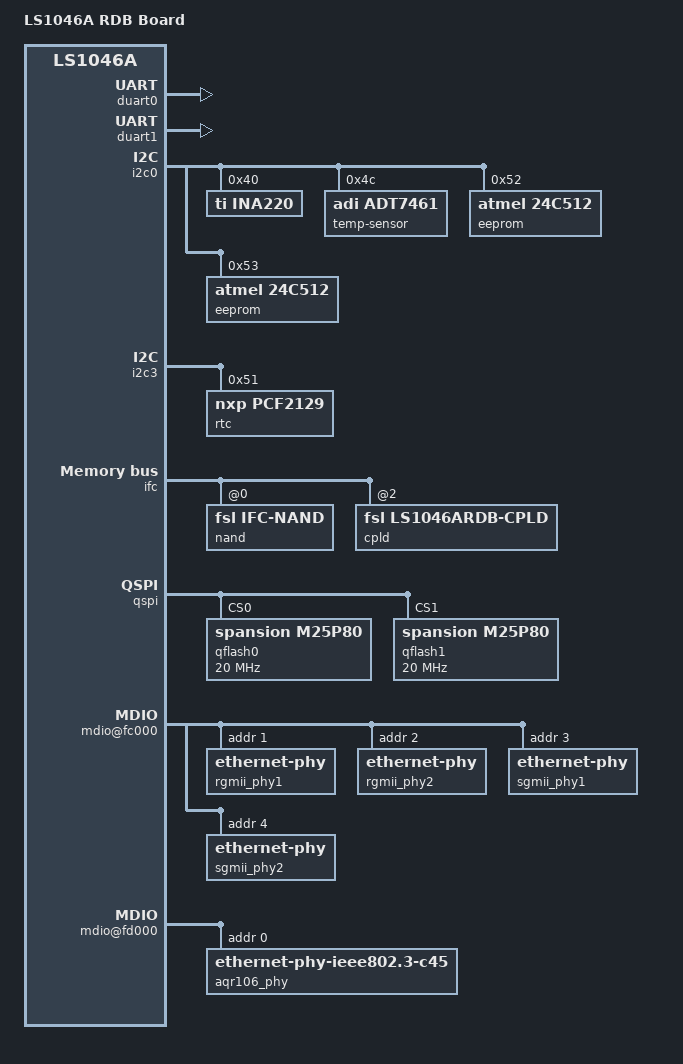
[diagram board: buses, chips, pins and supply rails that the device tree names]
// SPDX-License-Identifier: (GPL-2.0+ OR MIT)
/*
 * Device Tree Include file for Freescale Layerscape-1046A family SoC.
 *
 * Copyright 2016 Freescale Semiconductor, Inc.
 *
 * Mingkai Hu <mingkai.hu@nxp.com>
 */

/dts-v1/;

#include "fsl-ls1046a.dtsi"

/ {
	model = "LS1046A RDB Board";
	compatible = "fsl,ls1046a-rdb", "fsl,ls1046a";

	aliases {
		serial0 = &duart0;
		serial1 = &duart1;
		serial2 = &duart2;
		serial3 = &duart3;
	};

	chosen {
		stdout-path = "serial0:115200n8";
	};
};

&duart0 {
	status = "okay";
};

&duart1 {
	status = "okay";
};

&esdhc {
	mmc-hs200-1_8v;
	sd-uhs-sdr104;
	sd-uhs-sdr50;
	sd-uhs-sdr25;
	sd-uhs-sdr12;
};

&i2c0 {
	status = "okay";

	ina220@40 {
		compatible = "ti,ina220";
		reg = <0x40>;
		shunt-resistor = <1000>;
	};

	temp-sensor@4c {
		compatible = "adi,adt7461";
		reg = <0x4c>;
	};

	eeprom@56 {
		compatible = "atmel,24c512";
		reg = <0x52>;
	};

	eeprom@57 {
		compatible = "atmel,24c512";
		reg = <0x53>;
	};
};

&i2c3 {
	status = "okay";

	rtc@51 {
		compatible = "nxp,pcf2129";
		reg = <0x51>;
	};
};

&ifc {
	#address-cells = <2>;
	#size-cells = <1>;
	/* NAND Flashe and CPLD on board */
	ranges = <0x0 0x0 0x0 0x7e800000 0x00010000
		  0x2 0x0 0x0 0x7fb00000 0x00000100>;
	status = "okay";

	nand@0,0 {
		compatible = "fsl,ifc-nand";
		#address-cells = <1>;
		#size-cells = <1>;
		reg = <0x0 0x0 0x10000>;
	};

	cpld: board-control@2,0 {
		compatible = "fsl,ls1046ardb-cpld";
		reg = <0x2 0x0 0x0000100>;
	};
};

&qspi {
	num-cs = <2>;
	bus-num = <0>;
	status = "okay";

	qflash0: s25fs512s@0 {
		compatible = "spansion,m25p80";
		#address-cells = <1>;
		#size-cells = <1>;
		spi-max-frequency = <20000000>;
		reg = <0>;
	};

	qflash1: s25fs512s@1 {
		compatible = "spansion,m25p80";
		#address-cells = <1>;
		#size-cells = <1>;
		spi-max-frequency = <20000000>;
		reg = <1>;
	};
};

#include "fsl-ls1046-post.dtsi"

&fman0 {
	ethernet@e4000 {
		phy-handle = <&rgmii_phy1>;
		phy-connection-type = "rgmii";
	};

	ethernet@e6000 {
		phy-handle = <&rgmii_phy2>;
		phy-connection-type = "rgmii";
	};

	ethernet@e8000 {
		phy-handle = <&sgmii_phy1>;
		phy-connection-type = "sgmii";
	};

	ethernet@ea000 {
		phy-handle = <&sgmii_phy2>;
		phy-connection-type = "sgmii";
	};

	ethernet@f0000 { /* 10GEC1 */
		phy-handle = <&aqr106_phy>;
		phy-connection-type = "xgmii";
	};

	ethernet@f2000 { /* 10GEC2 */
		fixed-link = <0 1 1000 0 0>;
		phy-connection-type = "xgmii";
	};

	mdio@fc000 {
		rgmii_phy1: ethernet-phy@1 {
			reg = <0x1>;
		};

		rgmii_phy2: ethernet-phy@2 {
			reg = <0x2>;
		};

		sgmii_phy1: ethernet-phy@3 {
			reg = <0x3>;
		};

		sgmii_phy2: ethernet-phy@4 {
			reg = <0x4>;
		};
	};

	mdio@fd000 {
		aqr106_phy: ethernet-phy@0 {
			compatible = "ethernet-phy-ieee802.3-c45";
			interrupts = <0 131 4>;
			reg = <0x0>;
		};
	};
};
